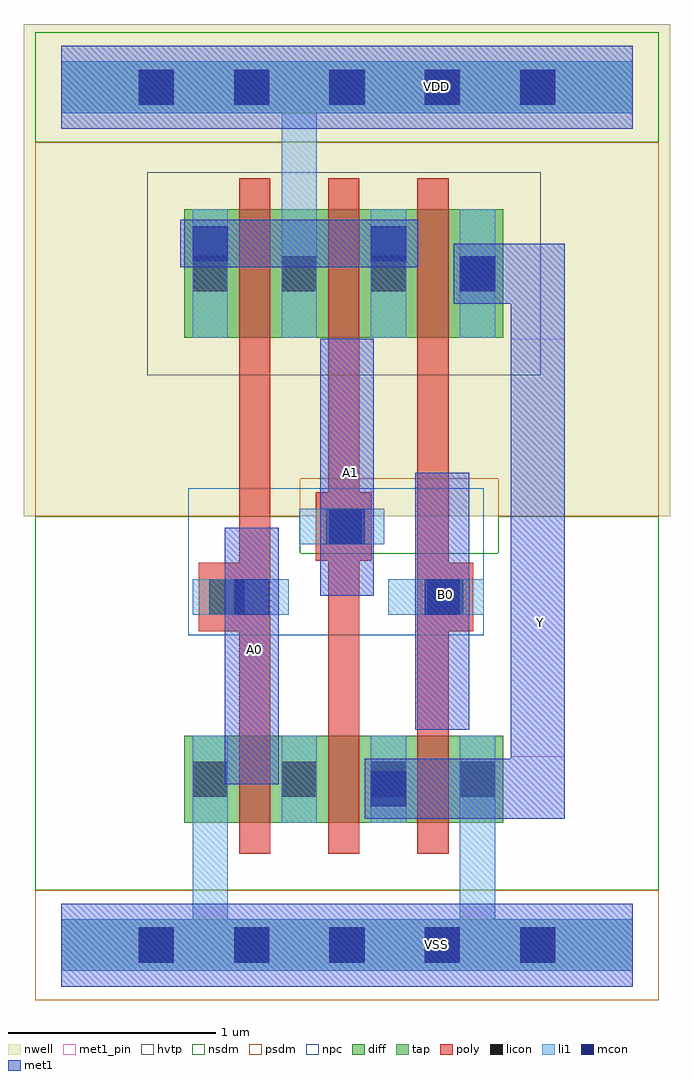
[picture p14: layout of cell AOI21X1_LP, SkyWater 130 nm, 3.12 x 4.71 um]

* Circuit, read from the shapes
.subckt AOI21X1_LP A0 A1 B0 VDD VSS Y
XM1 n1 A0 VSS VSS sky130_fd_pr__nfet_01v8 w=0.42 l=0.15
XM2 Y A1 n1 VSS sky130_fd_pr__nfet_01v8 w=0.42 l=0.15
XM3 VSS B0 Y VSS sky130_fd_pr__nfet_01v8 w=0.42 l=0.15
XM4 VDD A0 n2 VDD sky130_fd_pr__pfet_01v8_hvt w=0.62 l=0.15
XM5 n2 A1 VDD VDD sky130_fd_pr__pfet_01v8_hvt w=0.62 l=0.15
XM6 Y B0 n2 VDD sky130_fd_pr__pfet_01v8_hvt w=0.62 l=0.15
.ends

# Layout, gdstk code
import gdstk
lib = gdstk.Library(unit=1e-6, precision=1e-09)
def R(c, l, rs):  # rectangles x0, y0, x1, y1
    for r in rs: c.add(gdstk.rectangle(r[:2], r[2:], *l))
def A(c, l, x, y, w, h, nx, ny, dx, dy):  # array of equal rectangles
    R(c, l, [(x+i*dx, y+j*dy, x+i*dx+w, y+j*dy+h) for i in range(nx) for j in range(ny)])
def P(c, l, *ps):  # polygons
    for p in ps: c.add(gdstk.Polygon(p, *l))
nwell = (64, 20)
diff = (65, 20)
tap = (65, 44)
poly = (66, 20)
licon = (66, 44)
li1 = (67, 20)
mcon = (67, 44)
met1_pin = (68, 16)
met1 = (68, 20)
hvtp = (78, 44)
nsdm = (93, 44)
psdm = (94, 20)
npc = (95, 20)

l1m1_c_cdns_795853916197 = lib.new_cell('L1M1_C_CDNS_795853916197')
R(l1m1_c_cdns_795853916197, li1, [(-0.085,-0.165,0.085,0.165)])
R(l1m1_c_cdns_795853916197, mcon, [(-0.085,-0.085,0.085,0.085)])
R(l1m1_c_cdns_795853916197, met1, [(-0.115,-0.145,0.115,0.145)])

l1m1_c_cdns_795853916198 = lib.new_cell('L1M1_C_CDNS_795853916198')
R(l1m1_c_cdns_795853916198, li1, [(-0.085,-0.165,0.085,0.165)])
R(l1m1_c_cdns_795853916198, mcon, [(-0.085,-0.085,0.085,0.085)])
R(l1m1_c_cdns_795853916198, met1, [(-0.145,-0.115,0.145,0.115)])

pyl1con_c_cdns_795853916 = lib.new_cell('PYL1CON_C_CDNS_795853916195')
R(pyl1con_c_cdns_795853916, poly, [(-0.135,-0.165,0.135,0.165)])
R(pyl1con_c_cdns_795853916, licon, [(-0.085,-0.085,0.085,0.085)])
R(pyl1con_c_cdns_795853916, npc, [(-0.185,-0.185,0.185,0.185)])

l1m1_c_cdns_795853916194 = lib.new_cell('L1M1_C_CDNS_795853916194')
R(l1m1_c_cdns_795853916194, li1, [(-0.165,-0.085,0.165,0.085)])
R(l1m1_c_cdns_795853916194, mcon, [(-0.085,-0.085,0.085,0.085)])
R(l1m1_c_cdns_795853916194, met1, [(-0.115,-0.145,0.115,0.145)])

aoi21x1_lp = lib.new_cell('AOI21X1_LP')
R(aoi21x1_lp, nwell, [(-0.18,2.07,2.94,4.445)])
R(aoi21x1_lp, diff, [(0.595,0.59,2.135,1.01), (0.595,2.93,2.135,3.55)])
A(aoi21x1_lp, poly, 0.86, 0.44, 0.15, 3.26, 3, 1, 0.43, 0)
A(aoi21x1_lp, licon, 0.375, -0.085, 0.17, 0.17, 5, 2, 0.46, 4.14)
A(aoi21x1_lp, licon, 0.635, 0.715, 0.17, 0.17, 4, 2, 0.43, 2.44)
R(aoi21x1_lp, li1, [(1.495,0.59,1.665,1.01), (0.635,2.93,0.805,3.55), (1.495,2.93,1.665,3.55), (1.925,2.93,2.095,3.55)])
P(aoi21x1_lp, li1, [(1.065,2.93),(1.065,4.015),(0,4.015),(0,4.265),(2.76,4.265),(2.76,4.015),(1.235,4.015),(1.235,2.93)],
  [(0,-0.125),(0,0.125),(0.635,0.125),(0.635,1.01),(0.805,1.01),(0.805,0.125),(1.925,0.125),(1.925,1.01),(2.095,1.01),(2.095,0.125),(2.76,0.125),(2.76,-0.125)])
A(aoi21x1_lp, mcon, 0.375, -0.085, 0.17, 0.17, 5, 2, 0.46, 4.14)
R(aoi21x1_lp, met1_pin, [(0.79,0.775,1.05,2.015), (2.17,0.91,2.43,2.925), (1.71,1.04,1.97,2.28), (1.25,1.685,1.51,2.925)])
P(aoi21x1_lp, met1, [(1.465,0.61),(1.465,0.9),(2.17,0.9),(2.17,3.095),(2.01,3.095),(2.01,3.385),(2.43,3.385),(2.43,0.61)])
R(aoi21x1_lp, hvtp, [(0.415,2.75,2.315,3.73)])
R(aoi21x1_lp, nsdm, [(-0.125,3.875,2.885,4.405)])
P(aoi21x1_lp, nsdm, [(-0.125,0.265),(-0.125,2.07),(1.155,2.07),(1.155,1.89),(2.11,1.89),(2.11,2.07),(2.885,2.07),(2.885,0.265)])
R(aoi21x1_lp, psdm, [(-0.125,-0.265,2.885,0.265)])
P(aoi21x1_lp, psdm, [(-0.125,2.07),(-0.125,3.875),(2.885,3.875),(2.885,2.07),(2.11,2.07),(2.11,2.25),(1.155,2.25),(1.155,2.07)])
R(aoi21x1_lp, npc, [(0.615,1.495,2.04,2.205)])
aoi21x1_lp.add(gdstk.FlexPath([(0,4.14),(2.76,4.14)], 0.4, ends="flush", simple_path=True, layer=68, datatype=20))  # met1
aoi21x1_lp.add(gdstk.FlexPath([(0,0),(2.76,0)], 0.4, ends="flush", simple_path=True, layer=68, datatype=20))  # met1
aoi21x1_lp.add(gdstk.FlexPath([(0.92,2.015),(0.92,0.775)], 0.26, ends="flush", simple_path=True, layer=68, datatype=20))  # met1
aoi21x1_lp.add(gdstk.FlexPath([(1.38,1.685),(1.38,2.925)], 0.26, ends="flush", simple_path=True, layer=68, datatype=20))  # met1
aoi21x1_lp.add(gdstk.FlexPath([(1.84,2.28),(1.84,1.04)], 0.26, ends="flush", simple_path=True, layer=68, datatype=20))  # met1
aoi21x1_lp.add(gdstk.FlexPath([(0.865,3.385),(1.435,3.385)], 0.23, ends="flush", simple_path=True, layer=68, datatype=20))  # met1
aoi21x1_lp.add(gdstk.FlexPath([(0.635,1.68),(1.1,1.68)], 0.17, ends="flush", simple_path=True, layer=67, datatype=20))  # li1
aoi21x1_lp.add(gdstk.FlexPath([(1.58,1.68),(2.04,1.68)], 0.17, ends="flush", simple_path=True, layer=67, datatype=20))  # li1
aoi21x1_lp.add(gdstk.FlexPath([(1.15,2.02),(1.56,2.02)], 0.17, ends="flush", simple_path=True, layer=67, datatype=20))  # li1
aoi21x1_lp.add(gdstk.FlexPath([(1.15,0.59),(1.15,1.01)], 0.17, ends="flush", simple_path=True, layer=67, datatype=20))  # li1
aoi21x1_lp.add(gdstk.FlexPath([(0,4.14),(2.76,4.14)], 0.25, ends="flush", simple_path=True, layer=65, datatype=44))  # tap
aoi21x1_lp.add(gdstk.FlexPath([(0,0),(2.76,0)], 0.25, ends="flush", simple_path=True, layer=65, datatype=44))  # tap
aoi21x1_lp.add(gdstk.FlexPath([(0,4.14),(2.76,4.14)], 0.4, ends="flush", simple_path=True, layer=68, datatype=16))  # met1_pin
aoi21x1_lp.add(gdstk.FlexPath([(0,0),(2.76,0)], 0.4, ends="flush", simple_path=True, layer=68, datatype=16))  # met1_pin
aoi21x1_lp.add(gdstk.Reference(l1m1_c_cdns_795853916197, (2.01,3.24)))
aoi21x1_lp.add(gdstk.Reference(l1m1_c_cdns_795853916197, (1.58,0.755)))
aoi21x1_lp.add(gdstk.Reference(l1m1_c_cdns_795853916198, (1.58,3.385)))
aoi21x1_lp.add(gdstk.Reference(l1m1_c_cdns_795853916198, (0.72,3.385)))
aoi21x1_lp.add(gdstk.Reference(pyl1con_c_cdns_795853916, (1.365,2.02)))
aoi21x1_lp.add(gdstk.Reference(pyl1con_c_cdns_795853916, (0.8,1.68)))
aoi21x1_lp.add(gdstk.Reference(pyl1con_c_cdns_795853916, (1.855,1.68)))
aoi21x1_lp.add(gdstk.Reference(l1m1_c_cdns_795853916194, (1.38,2.02), x_reflection=True))
aoi21x1_lp.add(gdstk.Reference(l1m1_c_cdns_795853916194, (0.92,1.68)))
aoi21x1_lp.add(gdstk.Reference(l1m1_c_cdns_795853916194, (1.84,1.68)))
aoi21x1_lp.add(gdstk.Label('A0', (0.935,1.425), layer=68, texttype=5))
aoi21x1_lp.add(gdstk.Label('A1', (1.395,2.28), layer=68, texttype=5))
aoi21x1_lp.add(gdstk.Label('Y', (2.315,1.555), layer=68, texttype=5))
aoi21x1_lp.add(gdstk.Label('B0', (1.855,1.69), layer=68, texttype=5))
aoi21x1_lp.add(gdstk.Label('VSS', (1.81,0.005), layer=68, texttype=5))
aoi21x1_lp.add(gdstk.Label('VDD', (1.81,4.145), layer=68, texttype=5))

lib.write_gds('AOI21X1_LP.gds')
